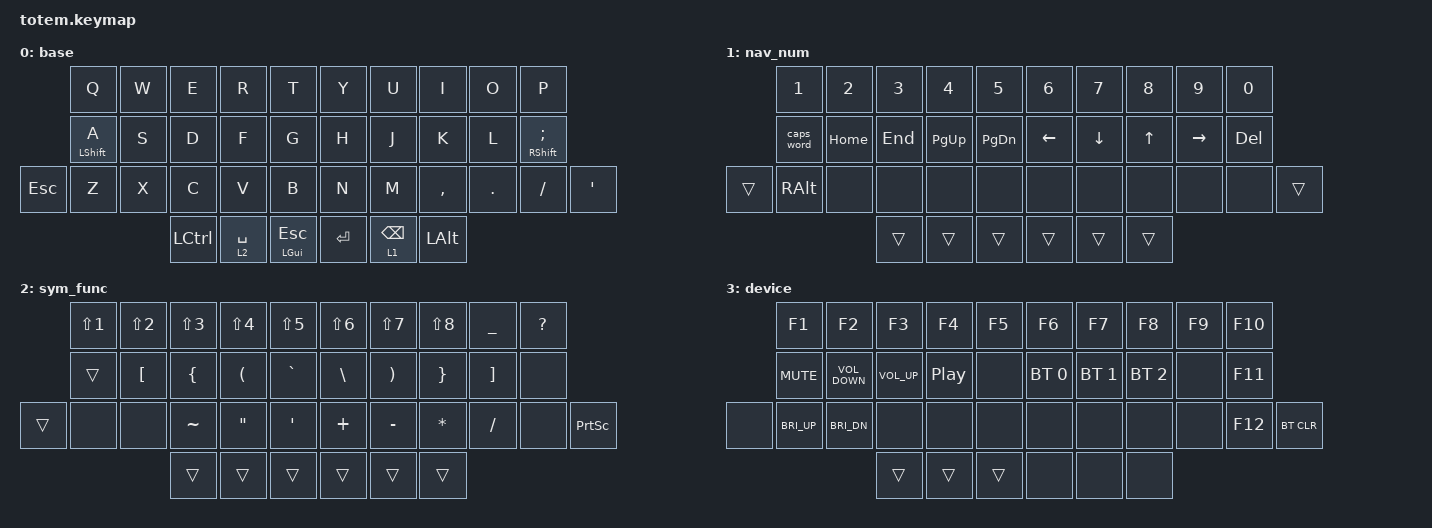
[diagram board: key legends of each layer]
//
//                                                        ▀▀▀▀▀     ▀▀▀▀▀          ▀▀█▀▀
//                                                        ▄▀▀▀▄  ▄  ▄▀▀▀▄  ▄  ▄▀▀▀▄  █  ▄▀▀▀▄
//                                                        █   █  █  █   █  █  █   █  █  █   █
//                                                         ▀▀▀   █   ▀▀▀   █   ▀▀▀   ▀   ▀▀▀
//                                                               █      ▄▄▄█▄▄▄    █   █  
//                                                               ▀      █  █  █     █▄█
//                                                             ▀▀▀▀▀    █  █  █      ▀
//                                                                      ▀  ▀  ▀
//
// ▄▄▄▄▄▄▄▄▄▄▄▄▄▄▄▄▄▄▄▄▄▄▄▄▄▄▄▄▄▄▄▄▄▄▄▄▄▄▄▄▄▄▄▄▄▄▄▄▄▄▄▄▄▄▄▄▄▄▄▄▄▄▄▄▄▄▄▄▄▄▄▄▄▄▄▄▄▄▄▄▄▄▄▄▄▄▄▄▄▄▄▄▄▄▄▄▄▄▄▄▄▄▄▄▄▄▄▄▄▄▄▄▄▄▄▄▄▄▄▄▄▄▄▄▄▄▄▄▄▄▄▄▄▄▄▄▄▄▄▄▄▄▄▄▄▄▄▄▄

#include <behaviors.dtsi>
#include <dt-bindings/zmk/bt.h>
#include <dt-bindings/zmk/keys.h>

&mt {
  quick-tap-ms = <100>;
  global-quick-tap;
  flavor = "tap-preferred";
  tapping-term-ms = <170>;
};


/ {
    keymap {
        compatible = "zmk,keymap";

        base {
            bindings = <
         &kp Q             &kp W  &kp E      &kp R        &kp T               &kp Y      &kp U            &kp I         &kp O    &kp P
         &mt LEFT_SHIFT A  &kp S  &kp D      &kp F        &kp G               &kp H      &kp J            &kp K         &kp L    &mt RIGHT_SHIFT SEMI
&kp ESC  &kp Z             &kp X  &kp C      &kp V        &kp B               &kp N      &kp M            &kp COMMA     &kp DOT  &kp FSLH              &kp APOS
                                  &kp LCTRL  &lt 2 SPACE  &mt LEFT_GUI ESC    &kp ENTER  &lt 1 BACKSPACE  &kp LEFT_ALT
            >;
        };

        nav_num {
            bindings = <
        &kp NUMBER_1   &kp NUMBER_2  &kp NUMBER_3  &kp NUMBER_4  &kp NUMBER_5     &kp NUMBER_6  &kp NUMBER_7  &kp NUMBER_8  &kp NUMBER_9  &kp NUMBER_0
        &caps_word     &kp HOME      &kp END       &kp PAGE_UP   &kp PAGE_DOWN    &kp LEFT      &kp DOWN      &kp UP        &kp RIGHT     &kp DEL
&trans  &kp RIGHT_ALT  &none         &none         &none         &none            &none         &none         &none         &none         &none         &trans
                                     &trans        &trans        &trans           &trans        &trans        &trans
            >;
        };

        sym_func {
            bindings = <
        &kp LS(NUMBER_1)  &kp LS(NUMBER_2)  &kp LS(NUMBER_3)  &kp LS(NUMBER_4)      &kp LS(NUMBER_5)    &kp LS(NUMBER_6)  &kp LS(NUMBER_7)       &kp LS(NUMBER_8)  &kp UNDERSCORE     &kp QUESTION
        &trans            &kp LBKT          &kp LEFT_BRACE    &kp LEFT_PARENTHESIS  &kp GRAVE           &kp BACKSLASH     &kp RIGHT_PARENTHESIS  &kp RIGHT_BRACE   &kp RIGHT_BRACKET  &none
&trans  &none             &none             &kp TILDE         &kp DOUBLE_QUOTES     &kp SINGLE_QUOTE    &kp PLUS          &kp MINUS              &kp STAR          &kp SLASH          &none         &kp PRINTSCREEN
                                            &trans            &trans                &trans              &trans            &trans                 &trans
            >;
        };

        device {
            bindings = <
       &kp F1        &kp F2             &kp F3           &kp F4            &kp F5    &kp F6        &kp F7        &kp F8        &kp F9  &kp F10
       &kp K_MUTE    &kp C_VOLUME_DOWN  &kp C_VOLUME_UP  &kp C_PLAY_PAUSE  &none     &bt BT_SEL 0  &bt BT_SEL 1  &bt BT_SEL 2  &none   &kp F11
&none  &kp C_BRI_UP  &kp C_BRI_DN       &none            &none             &none     &none         &none         &none         &none   &kp F12  &bt BT_CLR
                                        &trans           &trans            &trans    &none         &none         &none
            >;
        };

        extra1 { status = "reserved"; };

        extra2 { status = "reserved"; };

        extra3 { status = "reserved"; };
    };

    conditional_layers {
        compatible = "zmk,conditional-layers";

        device {
            if-layers = <1 2>;
            then-layer = <3>;
        };
    };
};
